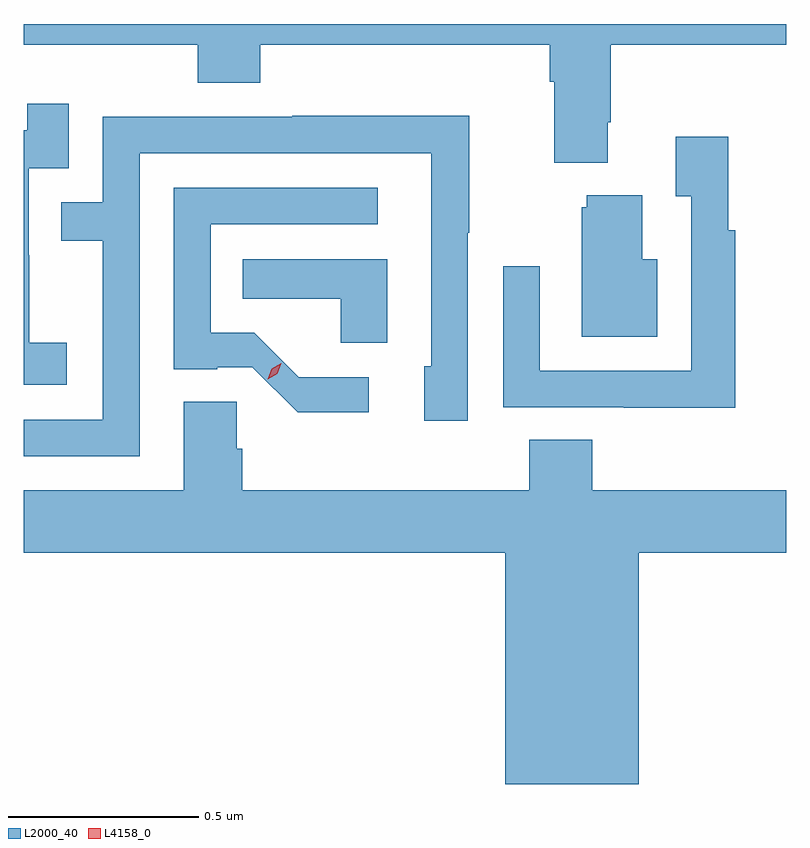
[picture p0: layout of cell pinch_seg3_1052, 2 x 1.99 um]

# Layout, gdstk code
import gdstk
lib = gdstk.Library(unit=1e-6, precision=1e-09)
def P(c, l, *ps):  # polygons
    for p in ps: c.add(gdstk.Polygon(p, *l))
L2000_40 = (2000, 40)
L4158_0 = (4158, 0)

pinch_seg3_1052 = lib.new_cell('pinch_seg3_1052')
P(pinch_seg3_1052, L2000_40, [(510.629,671.612),(511.085,671.612),(511.085,671.513),(511.25,671.513),(511.25,671.612),(512.009,671.612),(512.009,671.516),(512.021,671.516),(512.021,671.303),(512.161,671.303),(512.161,671.41),(512.169,671.41),(512.169,671.612),(512.629,671.612),(512.629,671.667),(510.629,671.667)],
  [(510.742,670.831),(510.644,670.831),(510.644,671.06),(510.642,671.06),(510.642,671.289),(510.747,671.289),(510.747,671.458),(510.639,671.458),(510.639,671.388),(510.629,671.388),(510.629,670.721),(510.742,670.721)],
  [(510.933,671.328),(511.698,671.328),(511.698,670.77),(511.679,670.77),(511.679,670.626),(511.794,670.626),(511.794,671.119),(511.797,671.119),(511.797,671.426),(511.333,671.426),(511.333,671.424),(510.837,671.424),(510.837,671.199),(510.727,671.199),(510.727,671.098),(510.837,671.098),(510.837,670.629),(510.629,670.629),(510.629,670.533),(510.933,670.533)],
  [(512.495,671.126),(512.477,671.126),(512.477,671.371),(512.339,671.371),(512.339,671.215),(512.379,671.215),(512.379,670.758),(511.983,670.758),(511.983,671.032),(511.887,671.032),(511.887,670.662),(512.203,670.662),(512.203,670.661),(512.495,670.661)],
  [(511.534,670.74),(511.351,670.74),(511.234,670.857),(511.119,670.857),(511.119,671.142),(511.558,671.142),(511.558,671.238),(511.023,671.238),(511.023,670.761),(511.137,670.761),(511.137,670.767),(511.229,670.767),(511.348,670.649),(511.534,670.649)],
  [(512.29,671.05),(512.251,671.05),(512.251,671.218),(512.105,671.218),(512.105,671.187),(512.093,671.187),(512.093,670.847),(512.29,670.847)],
  [(511.582,671.05),(511.204,671.05),(511.204,670.946),(511.46,670.946),(511.46,670.831),(511.582,670.831)],
  [(512.242,670.28),(512.629,670.28),(512.629,670.444),(512.12,670.444),(512.12,670.577),(511.955,670.577),(511.955,670.444),(511.202,670.444),(511.202,670.553),(511.188,670.553),(511.188,670.676),(511.049,670.676),(511.049,670.444),(510.629,670.444),(510.629,670.28),(511.892,670.28),(511.892,669.674),(512.242,669.674)])
P(pinch_seg3_1052, L4158_0, [(511.269,670.736),(511.269,670.736),(511.279,670.763),(511.304,670.777),(511.304,670.777),(511.304,670.777),(511.294,670.75),(511.269,670.736)])

lib.write_gds('pinch_seg3_1052.gds')
